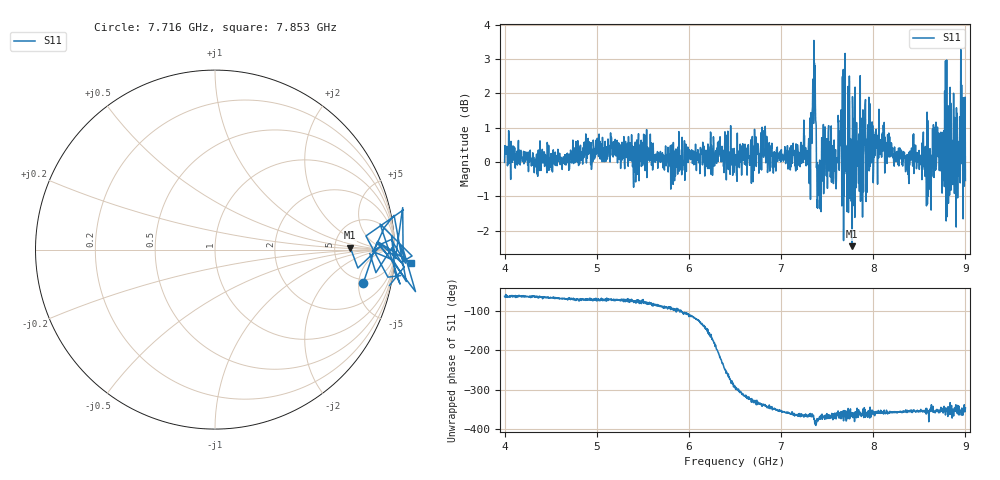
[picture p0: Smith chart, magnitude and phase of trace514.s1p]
! Created with skrf 1.8.0 (http://scikit-rf.org).
# Hz S RI R 50.0
!freq ReS11 ImS11
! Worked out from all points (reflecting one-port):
!   1601 points, 4 GHz to 9 GHz, reference 50 ohm
!   lowest |S11| = -2.5 dB at 7.772 GHz (marker M1), VSWR 7.14, Z = 356 + j16.9 ohm
!   phase of S11 starts at -62 deg and turns -284 deg over the sweep
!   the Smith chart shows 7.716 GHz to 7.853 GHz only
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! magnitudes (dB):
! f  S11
! 4 GHz  0.0
! 4.625 GHz  -0.2
! 5.25 GHz  0.1
! 5.875 GHz  0.0
! 6.328 GHz  0.5
! 6.5 GHz  0.0
! 6.806 GHz  0.2
! 7.125 GHz  0.2
! 7.294 GHz  0.3
! 7.347 GHz  2.4
! 7.366 GHz  2.2
! 7.409 GHz  -0.9
! 7.491 GHz  -0.4
! 7.591 GHz  0.4
! 7.669 GHz  0.3
! 7.75 GHz  -0.4
! 7.772 GHz  -2.5
! 7.8 GHz  -1.6
! 7.962 GHz  1.7
! 8.375 GHz  -0.2
! 8.522 GHz  0.1
! 8.603 GHz  -0.4
! 8.675 GHz  0.4
! 8.728 GHz  -0.3
! 8.8 GHz  0.3
! 8.875 GHz  0.7
! 8.972 GHz  0.6
! 9 GHz  -0.5
